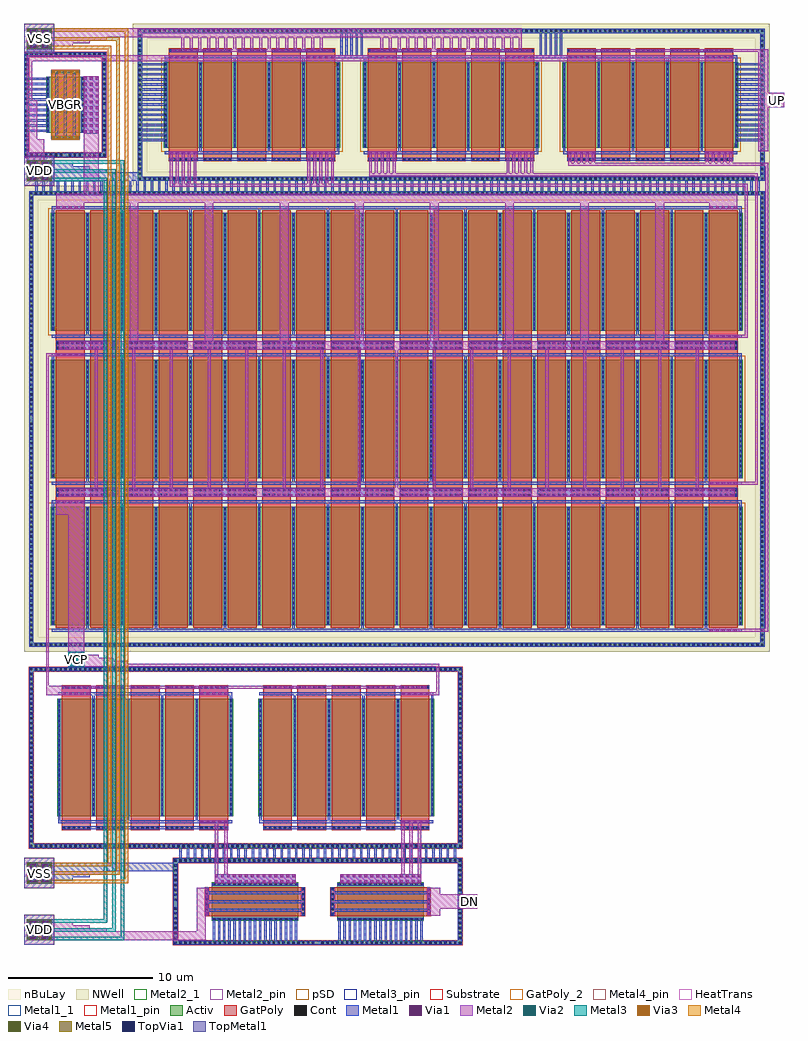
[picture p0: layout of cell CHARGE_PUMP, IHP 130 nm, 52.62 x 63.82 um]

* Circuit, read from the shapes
.subckt CHARGE_PUMP DN UP VBGR VCP VDD VSS
XM1 n1 VBGR VSS VSS sg13_lv_nmos w=3.9u l=2u
XM2 n2 n2 n3 VSS sg13_lv_nmos w=8.14u l=2u m=5
XM3 n3 VDD VSS VSS sg13_lv_nmos w=6u l=2u
XM4 VCP n2 n4 VSS sg13_lv_nmos w=8.14u l=2u m=5
XM5 n4 DN VSS VSS sg13_lv_nmos w=6u l=2u
XM6 n5 n1 VCP VDD sg13_lv_pmos w=8.18u l=2u m=20
XM7 n6 n1 n2 VDD sg13_lv_pmos w=8.18u l=2u m=20
XM8 n7 n1 n1 VDD sg13_lv_pmos w=8.18u l=2u m=20
XM9 n7 VSS VDD VDD sg13_lv_pmos w=5.92u l=2u m=5
XM10 n6 VSS VDD VDD sg13_lv_pmos w=5.92u l=2u m=5
XM11 VDD UP n5 VDD sg13_lv_pmos w=5.92u l=2u m=5
.ends

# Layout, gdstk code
from math import pi, radians
import gdstk
lib = gdstk.Library(unit=1e-6, precision=1e-09)
def R(c, l, rs):  # rectangles x0, y0, x1, y1
    for r in rs: c.add(gdstk.rectangle(r[:2], r[2:], *l))
def A(c, l, x, y, w, h, nx, ny, dx, dy):  # array of equal rectangles
    R(c, l, [(x+i*dx, y+j*dy, x+i*dx+w, y+j*dy+h) for i in range(nx) for j in range(ny)])
def P(c, l, *ps):  # polygons
    for p in ps: c.add(gdstk.Polygon(p, *l))
Activ = (1, 0)
GatPoly = (5, 0)
GatPoly_2 = (5, 2)
Cont = (6, 0)
Metal1 = (8, 0)
Metal1_1 = (8, 1)
Metal1_pin = (8, 2)
Metal2 = (10, 0)
Metal2_1 = (10, 1)
Metal2_pin = (10, 2)
pSD = (14, 0)
Via1 = (19, 0)
Via2 = (29, 0)
Metal3 = (30, 0)
Metal3_pin = (30, 2)
NWell = (31, 0)
nBuLay = (32, 0)
Substrate = (40, 0)
Via3 = (49, 0)
Metal4 = (50, 0)
Metal4_pin = (50, 2)
HeatTrans = (51, 0)
Via4 = (66, 0)
Metal5 = (67, 0)
TopVia1 = (125, 0)
TopMetal1 = (126, 0)

via_stack_2 = lib.new_cell('via_stack$2')
R(via_stack_2, GatPoly, [(-1,-0.32,1,0.32)])
A(via_stack_2, Cont, -0.93, -0.25, 0.16, 0.16, 6, 2, 0.34, 0.34)
R(via_stack_2, Metal1, [(-0.98,-0.25,0.98,0.25)])

via_stack_3 = lib.new_cell('via_stack$3')
R(via_stack_3, Metal1, [(-1.99,-0.31,1.99,0.31)])
R(via_stack_3, Metal2, [(-1.99,-0.305,1.99,0.305)])
A(via_stack_3, Via1, -1.94, -0.3, 0.19, 0.19, 10, 2, 0.41, 0.41)

pmos_2 = lib.new_cell('pmos$2')
A(pmos_2, Activ, 0, 0, 0.3, 0.3, 21, 1, 2.38, 0)
R(pmos_2, Activ, [(0,0,47.9,8.18)])
A(pmos_2, GatPoly, 0.34, -0.18, 2, 8.54, 20, 1, 2.38, 0)
R(pmos_2, GatPoly, [(0.34,-0.18,2.34,8.36)])
A(pmos_2, Cont, 0.07, 0.07, 0.16, 0.16, 21, 2, 2.38, 0.34)
A(pmos_2, Cont, 0.07, 0.755, 0.16, 0.16, 21, 2, 2.38, 0.34)
A(pmos_2, Cont, 0.07, 1.44, 0.16, 0.16, 21, 2, 2.38, 0.34)
A(pmos_2, Cont, 0.07, 2.125, 0.16, 0.16, 21, 2, 2.38, 0.34)
A(pmos_2, Cont, 0.07, 2.81, 0.16, 0.16, 21, 2, 2.38, 0.34)
A(pmos_2, Cont, 0.07, 3.495, 0.16, 0.16, 21, 2, 2.38, 0.34)
A(pmos_2, Cont, 0.07, 4.18, 0.16, 0.16, 21, 2, 2.38, 0.34)
A(pmos_2, Cont, 0.07, 4.865, 0.16, 0.16, 21, 2, 2.38, 0.34)
A(pmos_2, Cont, 0.07, 5.55, 0.16, 0.16, 21, 2, 2.38, 0.34)
A(pmos_2, Cont, 0.07, 6.235, 0.16, 0.16, 21, 2, 2.38, 0.34)
A(pmos_2, Cont, 0.07, 6.92, 0.16, 0.16, 21, 2, 2.38, 0.34)
A(pmos_2, Cont, 0.07, 7.605, 0.16, 0.16, 21, 2, 2.38, 0.345)
A(pmos_2, Metal1, 2.45, 0, 0.16, 8.18, 20, 1, 2.38, 0)
R(pmos_2, Metal1, [(0.07,0,0.23,8.18), (0.07,0,0.23,8.18), (2.45,0,2.61,8.18)])
R(pmos_2, pSD, [(-0.18,-0.3,48.08,8.48)])
R(pmos_2, NWell, [(-0.31,-0.31,48.21,8.49)])
R(pmos_2, Substrate, [(47.6,0,47.9,0.3)])
A(pmos_2, HeatTrans, 0.34, -0.18, 2, 8.54, 20, 1, 2.38, 0)
pmos_2.add(gdstk.Label('pmos', (1.34,4.09), layer=63, texttype=0))
pmos_2.add(gdstk.Label('pmos', (1.34,4.09), layer=51, texttype=0))
pmos_2.add(gdstk.Label('pmos', (3.72,4.09), layer=51, texttype=0))
pmos_2.add(gdstk.Label('pmos', (6.1,4.09), layer=51, texttype=0))
pmos_2.add(gdstk.Label('pmos', (8.48,4.09), layer=51, texttype=0))
pmos_2.add(gdstk.Label('pmos', (10.86,4.09), layer=51, texttype=0))
pmos_2.add(gdstk.Label('pmos', (13.24,4.09), layer=51, texttype=0))
pmos_2.add(gdstk.Label('pmos', (15.62,4.09), layer=51, texttype=0))
pmos_2.add(gdstk.Label('pmos', (18,4.09), layer=51, texttype=0))
pmos_2.add(gdstk.Label('pmos', (20.38,4.09), layer=51, texttype=0))
pmos_2.add(gdstk.Label('pmos', (22.76,4.09), layer=51, texttype=0))
pmos_2.add(gdstk.Label('pmos', (25.14,4.09), layer=51, texttype=0))
pmos_2.add(gdstk.Label('pmos', (27.52,4.09), layer=51, texttype=0))
pmos_2.add(gdstk.Label('pmos', (29.9,4.09), layer=51, texttype=0))
pmos_2.add(gdstk.Label('pmos', (32.28,4.09), layer=51, texttype=0))
pmos_2.add(gdstk.Label('pmos', (34.66,4.09), layer=51, texttype=0))
pmos_2.add(gdstk.Label('pmos', (37.04,4.09), layer=51, texttype=0))
pmos_2.add(gdstk.Label('pmos', (39.42,4.09), layer=51, texttype=0))
pmos_2.add(gdstk.Label('pmos', (41.8,4.09), layer=51, texttype=0))
pmos_2.add(gdstk.Label('pmos', (44.18,4.09), layer=51, texttype=0))
pmos_2.add(gdstk.Label('pmos', (46.56,4.09), layer=51, texttype=0))

via_stack_8 = lib.new_cell('via_stack$8')
R(via_stack_8, Metal2, [(-0.555,-0.51,0.555,0.51)])
A(via_stack_8, Via2, -0.505, -0.505, 0.19, 0.19, 3, 3, 0.41, 0.41)
R(via_stack_8, Metal3, [(-0.555,-0.51,0.555,0.51)])

via_stack = lib.new_cell('via_stack')
R(via_stack, Metal1, [(-0.965,-0.105,0.965,0.105)])
R(via_stack, Metal2, [(-0.965,-0.1,0.965,0.1)])
A(via_stack, Via1, -0.915, -0.095, 0.19, 0.19, 5, 1, 0.41, 0)

nmos_3 = lib.new_cell('nmos$3')
A(nmos_3, Activ, 0, 0, 0.3, 0.3, 6, 1, 2.38, 0)
R(nmos_3, Activ, [(0,0,12.2,8.14)])
A(nmos_3, GatPoly, 0.34, -0.18, 2, 8.5, 5, 1, 2.38, 0)
R(nmos_3, GatPoly_2, [(0.34,-0.18,2.34,8.32)])
A(nmos_3, Cont, 0.07, 0.07, 0.16, 0.16, 6, 6, 2.38, 0.34)
A(nmos_3, Cont, 0.07, 2.115, 0.16, 0.16, 6, 6, 2.38, 0.34)
A(nmos_3, Cont, 0.07, 4.16, 0.16, 0.16, 6, 6, 2.38, 0.34)
A(nmos_3, Cont, 0.07, 6.205, 0.16, 0.16, 6, 5, 2.38, 0.34)
A(nmos_3, Cont, 0.07, 7.91, 0.16, 0.16, 6, 1, 2.38, 0)
A(nmos_3, Metal1, 0.07, 0, 0.16, 8.14, 6, 1, 2.38, 0)
R(nmos_3, Metal1_pin, [(0.07,0,0.23,8.14), (2.45,0,2.61,8.14)])
A(nmos_3, HeatTrans, 0.34, -0.18, 2, 8.5, 5, 1, 2.38, 0)
nmos_3.add(gdstk.Label('nmos', (1.34,4.07), layer=63, texttype=0))
nmos_3.add(gdstk.Label('nmos', (1.34,4.07), layer=51, texttype=0))
nmos_3.add(gdstk.Label('nmos', (3.72,4.07), layer=51, texttype=0))
nmos_3.add(gdstk.Label('nmos', (6.1,4.07), layer=51, texttype=0))
nmos_3.add(gdstk.Label('nmos', (8.48,4.07), layer=51, texttype=0))
nmos_3.add(gdstk.Label('nmos', (10.86,4.07), layer=51, texttype=0))

nmos_2 = lib.new_cell('nmos$2')
A(nmos_2, Activ, 0, 0, 0.3, 0.3, 6, 1, 2.38, 0)
R(nmos_2, Activ, [(0,0,12.2,8.14)])
A(nmos_2, GatPoly, 0.34, -0.18, 2, 8.5, 5, 1, 2.38, 0)
R(nmos_2, GatPoly_2, [(0.34,-0.18,2.34,8.32)])
A(nmos_2, Cont, 0.07, 0.07, 0.16, 0.16, 6, 6, 2.38, 0.34)
A(nmos_2, Cont, 0.07, 2.115, 0.16, 0.16, 6, 6, 2.38, 0.34)
A(nmos_2, Cont, 0.07, 4.16, 0.16, 0.16, 6, 6, 2.38, 0.34)
A(nmos_2, Cont, 0.07, 6.205, 0.16, 0.16, 6, 5, 2.38, 0.34)
A(nmos_2, Cont, 0.07, 7.91, 0.16, 0.16, 6, 1, 2.38, 0)
A(nmos_2, Metal1, 0.07, 0, 0.16, 8.14, 6, 1, 2.38, 0)
R(nmos_2, Metal1_pin, [(0.07,0,0.23,8.14), (2.45,0,2.61,8.14)])
A(nmos_2, HeatTrans, 0.34, -0.18, 2, 8.5, 5, 1, 2.38, 0)
nmos_2.add(gdstk.Label('nmos', (1.34,4.07), layer=63, texttype=0))
nmos_2.add(gdstk.Label('nmos', (1.34,4.07), layer=51, texttype=0))
nmos_2.add(gdstk.Label('nmos', (3.72,4.07), layer=51, texttype=0))
nmos_2.add(gdstk.Label('nmos', (6.1,4.07), layer=51, texttype=0))
nmos_2.add(gdstk.Label('nmos', (8.48,4.07), layer=51, texttype=0))
nmos_2.add(gdstk.Label('nmos', (10.86,4.07), layer=51, texttype=0))

nmos_4 = lib.new_cell('nmos$4')
R(nmos_4, Activ, [(0,0,0.3,0.3), (0,0,2.68,6), (2.38,0,2.68,0.3)])
R(nmos_4, GatPoly, [(0.34,-0.18,2.34,6.18)])
R(nmos_4, GatPoly_2, [(0.34,-0.18,2.34,6.18)])
A(nmos_4, Cont, 0.07, 0.07, 0.16, 0.16, 1, 4, 0, 0.355)
A(nmos_4, Cont, 2.45, 0.07, 0.16, 0.16, 1, 4, 0, 0.355)
A(nmos_4, Cont, 0.07, 1.495, 0.16, 0.16, 1, 4, 0, 0.355)
A(nmos_4, Cont, 2.45, 1.495, 0.16, 0.16, 1, 4, 0, 0.355)
A(nmos_4, Cont, 0.07, 2.92, 0.16, 0.16, 1, 4, 0, 0.355)
A(nmos_4, Cont, 2.45, 2.92, 0.16, 0.16, 1, 4, 0, 0.355)
A(nmos_4, Cont, 0.07, 4.345, 0.16, 0.16, 1, 4, 0, 0.355)
A(nmos_4, Cont, 2.45, 4.345, 0.16, 0.16, 1, 4, 0, 0.355)
R(nmos_4, Cont, [(0.07,5.77,0.23,5.93), (2.45,5.77,2.61,5.93)])
R(nmos_4, Metal1, [(0.07,0,0.23,6), (2.45,0,2.61,6)])
R(nmos_4, Metal1_pin, [(0.07,0,0.23,6), (2.45,0,2.61,6)])
R(nmos_4, HeatTrans, [(0.34,-0.18,2.34,6.18)])
nmos_4.add(gdstk.Label('nmos', (1.34,3), layer=63, texttype=0))
nmos_4.add(gdstk.Label('nmos', (1.34,3), layer=51, texttype=0))

pmos = lib.new_cell('pmos')
A(pmos, Activ, 0, 0, 0.3, 0.3, 21, 1, 2.38, 0)
R(pmos, Activ, [(0,0,47.9,8.18)])
A(pmos, GatPoly, 0.34, -0.18, 2, 8.54, 20, 1, 2.38, 0)
R(pmos, GatPoly, [(0.34,-0.18,2.34,8.36)])
A(pmos, Cont, 0.07, 0.07, 0.16, 0.16, 21, 2, 2.38, 0.34)
A(pmos, Cont, 0.07, 0.755, 0.16, 0.16, 21, 2, 2.38, 0.34)
A(pmos, Cont, 0.07, 1.44, 0.16, 0.16, 21, 2, 2.38, 0.34)
A(pmos, Cont, 0.07, 2.125, 0.16, 0.16, 21, 2, 2.38, 0.34)
A(pmos, Cont, 0.07, 2.81, 0.16, 0.16, 21, 2, 2.38, 0.34)
A(pmos, Cont, 0.07, 3.495, 0.16, 0.16, 21, 2, 2.38, 0.34)
A(pmos, Cont, 0.07, 4.18, 0.16, 0.16, 21, 2, 2.38, 0.34)
A(pmos, Cont, 0.07, 4.865, 0.16, 0.16, 21, 2, 2.38, 0.34)
A(pmos, Cont, 0.07, 5.55, 0.16, 0.16, 21, 2, 2.38, 0.34)
A(pmos, Cont, 0.07, 6.235, 0.16, 0.16, 21, 2, 2.38, 0.34)
A(pmos, Cont, 0.07, 6.92, 0.16, 0.16, 21, 2, 2.38, 0.34)
A(pmos, Cont, 0.07, 7.605, 0.16, 0.16, 21, 2, 2.38, 0.345)
A(pmos, Metal1, 2.45, 0, 0.16, 8.18, 20, 1, 2.38, 0)
R(pmos, Metal1, [(0.07,0,0.23,8.18), (0.07,0,0.23,8.18), (2.45,0,2.61,8.18)])
R(pmos, pSD, [(-0.18,-0.3,48.08,8.48)])
R(pmos, NWell, [(-0.31,-0.31,48.21,8.49)])
R(pmos, Substrate, [(47.6,0,47.9,0.3)])
A(pmos, HeatTrans, 0.34, -0.18, 2, 8.54, 20, 1, 2.38, 0)
pmos.add(gdstk.Label('pmos', (1.34,4.09), layer=63, texttype=0))
pmos.add(gdstk.Label('pmos', (1.34,4.09), layer=51, texttype=0))
pmos.add(gdstk.Label('pmos', (3.72,4.09), layer=51, texttype=0))
pmos.add(gdstk.Label('pmos', (6.1,4.09), layer=51, texttype=0))
pmos.add(gdstk.Label('pmos', (8.48,4.09), layer=51, texttype=0))
pmos.add(gdstk.Label('pmos', (10.86,4.09), layer=51, texttype=0))
pmos.add(gdstk.Label('pmos', (13.24,4.09), layer=51, texttype=0))
pmos.add(gdstk.Label('pmos', (15.62,4.09), layer=51, texttype=0))
pmos.add(gdstk.Label('pmos', (18,4.09), layer=51, texttype=0))
pmos.add(gdstk.Label('pmos', (20.38,4.09), layer=51, texttype=0))
pmos.add(gdstk.Label('pmos', (22.76,4.09), layer=51, texttype=0))
pmos.add(gdstk.Label('pmos', (25.14,4.09), layer=51, texttype=0))
pmos.add(gdstk.Label('pmos', (27.52,4.09), layer=51, texttype=0))
pmos.add(gdstk.Label('pmos', (29.9,4.09), layer=51, texttype=0))
pmos.add(gdstk.Label('pmos', (32.28,4.09), layer=51, texttype=0))
pmos.add(gdstk.Label('pmos', (34.66,4.09), layer=51, texttype=0))
pmos.add(gdstk.Label('pmos', (37.04,4.09), layer=51, texttype=0))
pmos.add(gdstk.Label('pmos', (39.42,4.09), layer=51, texttype=0))
pmos.add(gdstk.Label('pmos', (41.8,4.09), layer=51, texttype=0))
pmos.add(gdstk.Label('pmos', (44.18,4.09), layer=51, texttype=0))
pmos.add(gdstk.Label('pmos', (46.56,4.09), layer=51, texttype=0))

via_stack_9 = lib.new_cell('via_stack$9')
R(via_stack_9, Metal1, [(-0.865,-0.72,0.865,0.72)])
R(via_stack_9, Metal2, [(-0.865,-0.715,0.865,0.715)])
A(via_stack_9, Via1, -0.815, -0.71, 0.19, 0.19, 4, 4, 0.48, 0.41)
A(via_stack_9, Via2, -0.815, -0.71, 0.19, 0.19, 4, 4, 0.48, 0.41)
R(via_stack_9, Metal3, [(-0.865,-0.715,0.865,0.715)])
A(via_stack_9, Via3, -0.815, -0.71, 0.19, 0.19, 4, 4, 0.48, 0.41)
R(via_stack_9, Metal4, [(-0.865,-0.715,0.865,0.715)])
A(via_stack_9, Via4, -0.815, -0.71, 0.19, 0.19, 4, 4, 0.48, 0.41)
R(via_stack_9, Metal5, [(-0.865,-0.73,0.865,0.73)])
R(via_stack_9, TopVia1, [(-0.63,-0.63,-0.21,-0.21), (0.21,-0.63,0.63,-0.21), (-0.63,0.21,-0.21,0.63), (0.21,0.21,0.63,0.63)])
R(via_stack_9, TopMetal1, [(-1.05,-1.05,1.05,1.05)])

guard_ring = lib.new_cell('guard_ring')
R(guard_ring, Activ, [(-25.46,-15.48,-25.16,15.48), (25.16,-15.48,25.46,15.48), (-25.46,15.48,25.46,15.78)])
P(guard_ring, Activ, [(-25.46,-15.78),(-25.46,15.48),(-25.16,15.48),(-25.16,-15.48),(25.16,-15.48),(25.16,15.48),(-25.46,15.48),(-25.46,15.78),(25.46,15.78),(25.46,-15.78)])
A(guard_ring, Cont, -25.39, -15.71, 0.16, 0.16, 74, 2, 0.34, 31.26)
A(guard_ring, Cont, 0.07, -15.71, 0.16, 0.16, 75, 2, 0.34, 31.26)
A(guard_ring, Cont, -25.39, -15.37, 0.16, 0.16, 1, 45, 0, 0.34)
A(guard_ring, Cont, 25.23, -15.37, 0.16, 0.16, 1, 45, 0, 0.34)
A(guard_ring, Cont, -25.39, 0.25, 0.16, 0.16, 1, 45, 0, 0.34)
A(guard_ring, Cont, 25.23, 0.25, 0.16, 0.16, 1, 45, 0, 0.34)
R(guard_ring, Metal1, [(-25.46,-15.78,25.46,-15.48), (-25.46,-15.48,-25.16,15.48), (25.16,-15.48,25.46,15.48), (-25.46,15.48,25.46,15.78)])
R(guard_ring, NWell, [(-25.81,-16.13,25.81,16.13)])
R(guard_ring, nBuLay, [(-25.81,-15.13,-24.81,15.13), (24.81,-15.13,25.81,15.13), (-25.81,15.13,25.81,16.13)])
P(guard_ring, nBuLay, [(-25.81,-16.13),(-25.81,15.13),(-24.81,15.13),(-24.81,-15.13),(24.81,-15.13),(24.81,15.13),(-25.81,15.13),(-25.81,16.13),(25.81,16.13),(25.81,-16.13)])
guard_ring.add(gdstk.Label('well', (0,-15.63), layer=63, texttype=0))

via_stack_4 = lib.new_cell('via_stack$4')
R(via_stack_4, GatPoly, [(-1,-0.15,1,0.15)])
A(via_stack_4, Cont, -0.93, -0.08, 0.16, 0.16, 6, 1, 0.34, 0)
R(via_stack_4, Metal1, [(-0.98,-0.08,0.98,0.08)])

via_stack_5 = lib.new_cell('via_stack$5')
R(via_stack_5, Metal1, [(-1.99,-0.105,1.99,0.105)])
R(via_stack_5, Metal2, [(-1.99,-0.1,1.99,0.1)])
A(via_stack_5, Via1, -1.94, -0.095, 0.19, 0.19, 10, 1, 0.41, 0)

pmos_5 = lib.new_cell('pmos$5')
A(pmos_5, Activ, 0, 0, 0.3, 0.3, 6, 1, 2.38, 0)
R(pmos_5, Activ, [(0,0,12.2,5.92)])
A(pmos_5, GatPoly, 0.34, -0.18, 2, 6.28, 5, 1, 2.38, 0)
R(pmos_5, GatPoly, [(0.34,-0.18,2.34,6.1)])
A(pmos_5, Cont, 0.07, 0.07, 0.16, 0.16, 6, 4, 2.38, 0.35)
A(pmos_5, Cont, 0.07, 1.475, 0.16, 0.16, 6, 4, 2.38, 0.35)
A(pmos_5, Cont, 0.07, 2.88, 0.16, 0.16, 6, 4, 2.38, 0.35)
A(pmos_5, Cont, 0.07, 4.285, 0.16, 0.16, 6, 4, 2.38, 0.35)
A(pmos_5, Cont, 0.07, 5.69, 0.16, 0.16, 6, 1, 2.38, 0)
A(pmos_5, Metal1, 2.45, 0, 0.16, 5.92, 5, 1, 2.38, 0)
R(pmos_5, Metal1, [(0.07,0,0.23,5.92), (0.07,0,0.23,5.92), (2.45,0,2.61,5.92)])
R(pmos_5, pSD, [(-0.18,-0.3,12.38,6.22)])
R(pmos_5, NWell, [(-0.31,-0.31,12.51,6.23)])
R(pmos_5, Substrate, [(11.9,0,12.2,0.3)])
A(pmos_5, HeatTrans, 0.34, -0.18, 2, 6.28, 5, 1, 2.38, 0)
pmos_5.add(gdstk.Label('pmos', (1.34,2.96), layer=63, texttype=0))
pmos_5.add(gdstk.Label('pmos', (1.34,2.96), layer=51, texttype=0))
pmos_5.add(gdstk.Label('pmos', (3.72,2.96), layer=51, texttype=0))
pmos_5.add(gdstk.Label('pmos', (6.1,2.96), layer=51, texttype=0))
pmos_5.add(gdstk.Label('pmos', (8.48,2.96), layer=51, texttype=0))
pmos_5.add(gdstk.Label('pmos', (10.86,2.96), layer=51, texttype=0))

pmos_4 = lib.new_cell('pmos$4')
A(pmos_4, Activ, 0, 0, 0.3, 0.3, 6, 1, 2.38, 0)
R(pmos_4, Activ, [(0,0,12.2,5.92)])
A(pmos_4, GatPoly, 0.34, -0.18, 2, 6.28, 5, 1, 2.38, 0)
R(pmos_4, GatPoly, [(0.34,-0.18,2.34,6.1)])
A(pmos_4, Cont, 0.07, 0.07, 0.16, 0.16, 6, 4, 2.38, 0.35)
A(pmos_4, Cont, 0.07, 1.475, 0.16, 0.16, 6, 4, 2.38, 0.35)
A(pmos_4, Cont, 0.07, 2.88, 0.16, 0.16, 6, 4, 2.38, 0.35)
A(pmos_4, Cont, 0.07, 4.285, 0.16, 0.16, 6, 4, 2.38, 0.35)
A(pmos_4, Cont, 0.07, 5.69, 0.16, 0.16, 6, 1, 2.38, 0)
A(pmos_4, Metal1, 2.45, 0, 0.16, 5.92, 5, 1, 2.38, 0)
R(pmos_4, Metal1, [(0.07,0,0.23,5.92), (0.07,0,0.23,5.92), (2.45,0,2.61,5.92)])
R(pmos_4, pSD, [(-0.18,-0.3,12.38,6.22)])
R(pmos_4, NWell, [(-0.31,-0.31,12.51,6.23)])
R(pmos_4, Substrate, [(11.9,0,12.2,0.3)])
A(pmos_4, HeatTrans, 0.34, -0.18, 2, 6.28, 5, 1, 2.38, 0)
pmos_4.add(gdstk.Label('pmos', (1.34,2.96), layer=63, texttype=0))
pmos_4.add(gdstk.Label('pmos', (1.34,2.96), layer=51, texttype=0))
pmos_4.add(gdstk.Label('pmos', (3.72,2.96), layer=51, texttype=0))
pmos_4.add(gdstk.Label('pmos', (6.1,2.96), layer=51, texttype=0))
pmos_4.add(gdstk.Label('pmos', (8.48,2.96), layer=51, texttype=0))
pmos_4.add(gdstk.Label('pmos', (10.86,2.96), layer=51, texttype=0))

nmos_1 = lib.new_cell('nmos$1')
R(nmos_1, Activ, [(-1.5,-1.38,-1.2,5.28), (3.88,-1.38,4.18,5.28), (0,0,0.3,0.3), (0,0,2.68,3.9), (2.38,0,2.68,0.3), (-1.5,5.28,4.18,5.58)])
P(nmos_1, Activ, [(-1.5,-1.68),(-1.5,5.28),(-1.2,5.28),(-1.2,-1.38),(3.88,-1.38),(3.88,5.28),(-1.5,5.28),(-1.5,5.58),(4.18,5.58),(4.18,-1.68)])
R(nmos_1, GatPoly, [(0.34,-0.18,2.34,4.08)])
R(nmos_1, GatPoly_2, [(0.34,-0.18,2.34,4.08)])
A(nmos_1, Cont, -1.43, -1.61, 0.16, 0.16, 8, 2, 0.34, 6.96)
A(nmos_1, Cont, 1.57, -1.61, 0.16, 0.16, 8, 2, 0.34, 6.96)
A(nmos_1, Cont, -1.43, -1.27, 0.16, 0.16, 1, 9, 0, 0.34)
A(nmos_1, Cont, 3.95, -1.27, 0.16, 0.16, 1, 9, 0, 0.34)
A(nmos_1, Cont, 0.07, 0.07, 0.16, 0.16, 1, 11, 0, 0.36)
A(nmos_1, Cont, 2.45, 0.07, 0.16, 0.16, 1, 11, 0, 0.36)
A(nmos_1, Cont, -1.43, 1.95, 0.16, 0.16, 1, 10, 0, 0.34)
A(nmos_1, Cont, 3.95, 1.95, 0.16, 0.16, 1, 10, 0, 0.34)
R(nmos_1, Metal1, [(-1.5,-1.68,4.18,-1.38), (-1.5,-1.38,-1.2,5.28), (3.88,-1.38,4.18,5.28), (0.07,0,0.23,3.9), (2.45,0,2.61,3.9), (-1.5,5.28,4.18,5.58)])
R(nmos_1, Metal1_pin, [(0.07,0,0.23,3.9), (2.45,0,2.61,3.9)])
R(nmos_1, pSD, [(-1.53,-1.35,-1.17,5.25), (3.85,-1.35,4.21,5.25), (-1.53,5.25,4.21,5.61)])
P(nmos_1, pSD, [(-1.53,-1.71),(-1.53,5.25),(-1.17,5.25),(-1.17,-1.35),(3.85,-1.35),(3.85,5.25),(-1.53,5.25),(-1.53,5.61),(4.21,5.61),(4.21,-1.71)])
R(nmos_1, Substrate, [(-1.53,-1.35,-1.17,5.25), (3.85,-1.35,4.21,5.25), (-1.53,5.25,4.21,5.61)])
P(nmos_1, Substrate, [(-1.53,-1.71),(-1.53,5.25),(-1.17,5.25),(-1.17,-1.35),(3.85,-1.35),(3.85,5.25),(-1.53,5.25),(-1.53,5.61),(4.21,5.61),(4.21,-1.71)])
R(nmos_1, HeatTrans, [(0.34,-0.18,2.34,4.08)])
nmos_1.add(gdstk.Label('nmos', (1.34,1.95), layer=63, texttype=0))
nmos_1.add(gdstk.Label('sub!', (1.34,-1.53), layer=63, texttype=0))
nmos_1.add(gdstk.Label('nmos', (1.34,1.95), layer=51, texttype=0))

via_stack_7 = lib.new_cell('via_stack$7')
R(via_stack_7, Metal1, [(-0.965,-0.105,0.965,0.105)])
R(via_stack_7, Metal2, [(-0.965,-0.1,0.965,0.1)])
A(via_stack_7, Via1, -0.915, -0.095, 0.19, 0.19, 5, 1, 0.41, 0)
A(via_stack_7, Via2, -0.915, -0.095, 0.19, 0.19, 5, 1, 0.41, 0)
R(via_stack_7, Metal3, [(-0.965,-0.1,0.965,0.1)])
A(via_stack_7, Via3, -0.915, -0.095, 0.19, 0.19, 5, 1, 0.41, 0)
R(via_stack_7, Metal4, [(-0.965,-0.1,0.965,0.1)])

via_stack_6 = lib.new_cell('via_stack$6')
R(via_stack_6, Metal1, [(-0.515,-1.99,0.515,1.99)])
R(via_stack_6, Metal2, [(-0.51,-1.99,0.51,1.99)])
A(via_stack_6, Via1, -0.505, -1.94, 0.19, 0.19, 3, 10, 0.41, 0.41)

guard_ring_2 = lib.new_cell('guard_ring$2')
R(guard_ring_2, Activ, [(-21.7,-4.97,-21.4,4.97), (21.4,-4.97,21.7,4.97), (-21.7,4.97,21.7,5.27)])
P(guard_ring_2, Activ, [(-21.7,-5.27),(-21.7,4.97),(-21.4,4.97),(-21.4,-4.97),(21.4,-4.97),(21.4,4.97),(-21.7,4.97),(-21.7,5.27),(21.7,5.27),(21.7,-5.27)])
A(guard_ring_2, Cont, -21.63, -5.2, 0.16, 0.16, 63, 2, 0.34, 10.24)
A(guard_ring_2, Cont, 0.05, -5.2, 0.16, 0.16, 64, 2, 0.34, 10.24)
A(guard_ring_2, Cont, -21.63, -4.86, 0.16, 0.16, 1, 14, 0, 0.34)
A(guard_ring_2, Cont, 21.47, -4.86, 0.16, 0.16, 1, 14, 0, 0.34)
A(guard_ring_2, Cont, -21.63, -0.06, 0.16, 0.16, 1, 15, 0, 0.34)
A(guard_ring_2, Cont, 21.47, -0.06, 0.16, 0.16, 1, 15, 0, 0.34)
R(guard_ring_2, Metal1, [(-21.7,-5.27,21.7,-4.97), (-21.7,-4.97,-21.4,4.97), (21.4,-4.97,21.7,4.97), (-21.7,4.97,21.7,5.27)])
R(guard_ring_2, NWell, [(-22.05,-5.62,22.05,5.62)])
R(guard_ring_2, nBuLay, [(-22.05,-4.62,-21.05,4.62), (21.05,-4.62,22.05,4.62), (-22.05,4.62,22.05,5.62)])
P(guard_ring_2, nBuLay, [(-22.05,-5.62),(-22.05,4.62),(-21.05,4.62),(-21.05,-4.62),(21.05,-4.62),(21.05,4.62),(-22.05,4.62),(-22.05,5.62),(22.05,5.62),(22.05,-5.62)])
guard_ring_2.add(gdstk.Label('well', (0,-5.12), layer=63, texttype=0))

via_stack_10 = lib.new_cell('via_stack$10')
R(via_stack_10, Metal1, [(-0.865,-0.72,0.865,0.72)])
R(via_stack_10, Metal2, [(-0.865,-0.715,0.865,0.715)])
A(via_stack_10, Via1, -0.815, -0.71, 0.19, 0.19, 4, 4, 0.48, 0.41)
A(via_stack_10, Via2, -0.815, -0.71, 0.19, 0.19, 4, 4, 0.48, 0.41)
R(via_stack_10, Metal3, [(-0.865,-0.715,0.865,0.715)])
A(via_stack_10, Via3, -0.815, -0.71, 0.19, 0.19, 4, 4, 0.48, 0.41)
R(via_stack_10, Metal4, [(-0.865,-0.715,0.865,0.715)])
A(via_stack_10, Via4, -0.815, -0.71, 0.19, 0.19, 4, 4, 0.48, 0.41)
R(via_stack_10, Metal5, [(-0.865,-0.73,0.865,0.73)])
R(via_stack_10, TopVia1, [(-0.63,-0.63,-0.21,-0.21), (0.21,-0.63,0.63,-0.21), (-0.63,0.21,-0.21,0.63), (0.21,0.21,0.63,0.63)])
R(via_stack_10, TopMetal1, [(-1.05,-1.05,1.05,1.05)])

guard_ring_5 = lib.new_cell('guard_ring$5')
R(guard_ring_5, Activ, [(-15,-5.97,-14.7,5.97), (14.7,-5.97,15,5.97), (-15,5.97,15,6.27)])
P(guard_ring_5, Activ, [(-15,-6.27),(-15,5.97),(-14.7,5.97),(-14.7,-5.97),(14.7,-5.97),(14.7,5.97),(-15,5.97),(-15,6.27),(15,6.27),(15,-6.27)])
A(guard_ring_5, Cont, -14.93, -6.2, 0.16, 0.16, 44, 2, 0.34, 12.24)
A(guard_ring_5, Cont, 0.15, -6.2, 0.16, 0.16, 44, 2, 0.34, 12.24)
A(guard_ring_5, Cont, -14.93, -5.86, 0.16, 0.16, 1, 35, 0, 0.34)
A(guard_ring_5, Cont, 14.77, -5.86, 0.16, 0.16, 1, 35, 0, 0.34)
R(guard_ring_5, Metal1, [(-15,-6.27,15,-5.97), (-15,-5.97,-14.7,5.97), (14.7,-5.97,15,5.97), (-15,5.97,15,6.27)])
R(guard_ring_5, pSD, [(-15.03,-5.94,-14.67,5.94), (14.67,-5.94,15.03,5.94), (-15.03,5.94,15.03,6.3)])
P(guard_ring_5, pSD, [(-15.03,-6.3),(-15.03,5.94),(-14.67,5.94),(-14.67,-5.94),(14.67,-5.94),(14.67,5.94),(-15.03,5.94),(-15.03,6.3),(15.03,6.3),(15.03,-6.3)])
R(guard_ring_5, Substrate, [(-15.03,-5.94,-14.67,5.94), (14.67,-5.94,15.03,5.94), (-15.03,5.94,15.03,6.3)])
P(guard_ring_5, Substrate, [(-15.03,-6.3),(-15.03,5.94),(-14.67,5.94),(-14.67,-5.94),(14.67,-5.94),(14.67,5.94),(-15.03,5.94),(-15.03,6.3),(15.03,6.3),(15.03,-6.3)])
guard_ring_5.add(gdstk.Label('sub!', (0,-6.12), layer=63, texttype=0))

guard_ring_3 = lib.new_cell('guard_ring$3')
R(guard_ring_3, Activ, [(-10,-2.7,-9.7,2.7), (9.7,-2.7,10,2.7), (-10,2.7,10,3)])
P(guard_ring_3, Activ, [(-10,-3),(-10,2.7),(-9.7,2.7),(-9.7,-2.7),(9.7,-2.7),(9.7,2.7),(-10,2.7),(-10,3),(10,3),(10,-3)])
A(guard_ring_3, Cont, -9.93, -2.93, 0.16, 0.16, 29, 2, 0.34, 5.7)
A(guard_ring_3, Cont, 0.25, -2.93, 0.16, 0.16, 29, 2, 0.34, 5.7)
A(guard_ring_3, Cont, -9.93, -2.59, 0.16, 0.16, 1, 7, 0, 0.34)
A(guard_ring_3, Cont, 9.77, -2.59, 0.16, 0.16, 1, 7, 0, 0.34)
A(guard_ring_3, Cont, -9.93, 0.05, 0.16, 0.16, 1, 8, 0, 0.34)
A(guard_ring_3, Cont, 9.77, 0.05, 0.16, 0.16, 1, 8, 0, 0.34)
R(guard_ring_3, Metal1, [(-10,-3,10,-2.7), (-10,-2.7,-9.7,2.7), (9.7,-2.7,10,2.7), (-10,2.7,10,3)])
R(guard_ring_3, pSD, [(-10.03,-2.67,-9.67,2.67), (9.67,-2.67,10.03,2.67), (-10.03,2.67,10.03,3.03)])
P(guard_ring_3, pSD, [(-10.03,-3.03),(-10.03,2.67),(-9.67,2.67),(-9.67,-2.67),(9.67,-2.67),(9.67,2.67),(-10.03,2.67),(-10.03,3.03),(10.03,3.03),(10.03,-3.03)])
R(guard_ring_3, Substrate, [(-10.03,-2.67,-9.67,2.67), (9.67,-2.67,10.03,2.67), (-10.03,2.67,10.03,3.03)])
P(guard_ring_3, Substrate, [(-10.03,-3.03),(-10.03,2.67),(-9.67,2.67),(-9.67,-2.67),(9.67,-2.67),(9.67,2.67),(-10.03,2.67),(-10.03,3.03),(10.03,3.03),(10.03,-3.03)])
guard_ring_3.add(gdstk.Label('sub!', (0,-2.85), layer=63, texttype=0))

via_stack_11 = lib.new_cell('via_stack$11')
R(via_stack_11, Metal1, [(-2.81,-0.31,2.81,0.31)])
R(via_stack_11, Metal2, [(-2.81,-0.305,2.81,0.305)])
A(via_stack_11, Via1, -2.76, -0.3, 0.19, 0.19, 14, 2, 0.41, 0.41)

charge_pump = lib.new_cell('CHARGE_PUMP')
A(charge_pump, GatPoly, 33.76, 11.52, 2, 0.465, 5, 2, 2.38, 8.965)
A(charge_pump, GatPoly, 47.69, 11.52, 2, 0.465, 5, 2, 2.38, 8.965)
A(charge_pump, GatPoly, 33.335, 33.775, 2, 0.5, 20, 2, 2.38, 1.14)
A(charge_pump, GatPoly, 33.335, 43.955, 2, 0.5, 20, 2, 2.38, 1.14)
A(charge_pump, GatPoly, 41.155, 57.83, 2, 0.465, 5, 2, 2.38, 6.745)
A(charge_pump, GatPoly, 54.945, 57.83, 2, 0.465, 5, 2, 2.38, 6.745)
A(charge_pump, GatPoly, 68.735, 57.83, 2, 0.465, 5, 2, 2.38, 6.745)
A(charge_pump, Metal1, 44.215, 3.565, 0.16, 1.43, 17, 1, 0.355, 0)
A(charge_pump, Metal1, 52.9, 3.565, 0.16, 1.43, 17, 1, 0.355, 0)
A(charge_pump, Metal1, 43.91, 5.56, 6.45, 0.21, 1, 3, 0, 0.6)
A(charge_pump, Metal1, 52.6, 5.56, 6.45, 0.21, 1, 3, 0, 0.6)
A(charge_pump, Metal1, 41.9, 9.265, 0.16, 0.7, 39, 1, 0.5, 0)
A(charge_pump, Metal1, 33.49, 11.915, 0.16, 0.25, 3, 1, 4.76, 0)
A(charge_pump, Metal1, 47.42, 11.915, 0.16, 0.25, 3, 1, 4.76, 0)
A(charge_pump, Metal1, 35.87, 20.305, 0.16, 0.25, 3, 1, 4.76, 0)
A(charge_pump, Metal1, 49.8, 20.305, 0.16, 0.25, 3, 1, 4.76, 0)
A(charge_pump, Metal1, 35.445, 25.165, 0.16, 0.25, 10, 3, 4.76, 10.18)
A(charge_pump, Metal1, 33.065, 33.595, 0.16, 0.25, 11, 3, 4.76, 10.18)
A(charge_pump, Metal1, 33.355, 34.285, 4.34, 0.62, 10, 2, 4.76, 10.18)
A(charge_pump, Metal1, 31.915, 55.465, 0.16, 0.68, 8, 1, 0.5, 0)
A(charge_pump, Metal1, 35.915, 55.465, 0.16, 0.7, 93, 1, 0.5, 0)
A(charge_pump, Metal1, 45.935, 57.575, 1.96, 0.21, 3, 2, 13.79, 7.51)
A(charge_pump, Metal1, 40.885, 58.015, 12.06, 0.21, 3, 2, 13.79, 6.63)
A(charge_pump, Metal1, 43.265, 58.225, 0.16, 0.25, 3, 1, 4.76, 0)
A(charge_pump, Metal1, 57.055, 58.225, 0.16, 0.25, 3, 1, 4.76, 0)
A(charge_pump, Metal1, 68.465, 58.225, 0.16, 0.25, 3, 1, 4.76, 0)
A(charge_pump, Metal1, 39.305, 58.915, 1.58, 0.16, 1, 16, 0, 0.35)
A(charge_pump, Metal1, 80.525, 58.915, 1.58, 0.16, 1, 16, 0, 0.35)
A(charge_pump, Metal1, 33.3, 59.25, 0.21, 4.36, 3, 1, 0.6, 0)
A(charge_pump, Metal1, 31.465, 59.555, 1.27, 0.16, 1, 11, 0, 0.36)
A(charge_pump, Metal1, 40.885, 64.395, 0.16, 0.25, 3, 1, 4.76, 0)
A(charge_pump, Metal1, 54.675, 64.395, 0.16, 0.25, 3, 1, 4.76, 0)
A(charge_pump, Metal1, 70.845, 64.395, 0.16, 0.25, 3, 1, 4.76, 0)
A(charge_pump, Metal1, 53.04, 64.855, 0.16, 1.55, 5, 1, 0.35, 0)
A(charge_pump, Metal1, 66.83, 64.855, 0.16, 1.55, 5, 1, 0.35, 0)
R(charge_pump, Metal1, [(43.7,5.285,43.91,7.245), (50.36,5.285,50.57,7.245), (52.39,5.285,52.6,7.245), (59.05,5.285,59.26,7.245), (33.05,7.725,34.51,8.96), (34.51,7.945,35.695,8.96), (35.695,8.135,36.875,8.96), (36.875,8.355,41.48,8.96), (33.78,11.265,38.12,11.475), (38.12,11.265,38.54,11.475), (38.54,11.265,40.5,11.475), (40.5,11.265,40.92,11.475), (40.92,11.265,45.26,11.475), (47.71,11.265,52.05,11.475), (52.05,11.265,52.47,11.475), (52.47,11.265,54.43,11.475), (54.43,11.265,54.85,11.475), (54.85,11.265,59.19,11.475), (33.49,11.705,45.55,11.915), (47.42,11.705,59.48,11.915), (33.49,20.555,45.55,20.765), (47.42,20.555,59.48,20.765), (33.78,20.995,38.12,21.205), (38.54,20.995,40.5,21.205), (40.92,20.995,45.26,21.205), (47.71,20.995,52.05,21.205), (52.47,20.995,54.43,21.205), (54.85,20.995,59.19,21.205), (33.065,24.955,80.825,25.165), (33.065,33.845,80.825,34.055), (33.065,35.135,80.825,35.345), (33.065,44.025,80.825,44.235), (33.065,45.315,80.825,45.525), (33.065,54.205,80.825,54.415), (33.05,56.145,34.51,57.385), (34.51,56.145,35.695,57.165), (35.695,56.165,36.875,56.975), (36.875,56.165,39.005,56.755), (41.175,57.575,45.515,57.785), (45.515,57.575,45.935,57.785), (47.895,57.575,48.315,57.785), (48.315,57.575,52.655,57.785), (54.965,57.575,59.305,57.785), (59.305,57.575,59.725,57.785), (61.685,57.575,62.105,57.785), (62.105,57.575,66.445,57.785), (68.755,57.575,73.095,57.785), (73.095,57.575,73.515,57.785), (75.475,57.575,75.895,57.785), (75.895,57.575,80.235,57.785), (33.025,59.05,34.985,59.26), (33.025,63.61,34.985,63.82), (52.945,64.645,54.675,64.855), (66.735,64.645,68.465,64.855), (31.32,65.065,33.05,65.285), (41.175,65.085,45.515,65.295), (48.315,65.085,52.655,65.295), (54.965,65.085,59.305,65.295), (62.105,65.085,66.445,65.295), (68.755,65.085,73.095,65.295), (75.895,65.085,80.235,65.295)])
R(charge_pump, Metal1_1, [(31.685,56.365,32.685,57.365)])
A(charge_pump, Metal2, 57.245, 8.15, 0.25, 3.56, 3, 1, 0.57, 0)
A(charge_pump, Metal2, 36.04, 34.9, 0.21, 9.57, 17, 1, 2.6, 0)
A(charge_pump, Metal2, 38.44, 45.08, 0.61, 9.57, 8, 1, 5.2, 0)
A(charge_pump, Metal2, 41.235, 55.975, 0.2, 2.045, 5, 1, 0.41, 0)
A(charge_pump, Metal2, 50.755, 55.975, 0.2, 2.045, 5, 1, 0.41, 0)
A(charge_pump, Metal2, 55.025, 56.69, 0.2, 1.33, 5, 1, 0.41, 0)
A(charge_pump, Metal2, 64.545, 56.69, 0.2, 1.33, 5, 1, 0.41, 0)
A(charge_pump, Metal2, 68.815, 57.405, 0.2, 0.615, 5, 1, 0.41, 0)
A(charge_pump, Metal2, 78.335, 57.405, 0.2, 0.615, 5, 1, 0.41, 0)
A(charge_pump, Metal2, 41.355, 65.09, 11.12, 0.2, 3, 1, 13.79, 0)
A(charge_pump, Metal2, 42.015, 65.29, 0.2, 0.825, 17, 1, 0.6, 0)
A(charge_pump, Metal2, 55.805, 65.29, 0.2, 0.825, 17, 1, 0.6, 0)
R(charge_pump, Metal2, [(33.05,3.6,34.51,4.835), (34.51,3.6,35.695,4.615), (35.695,3.6,36.875,4.425), (36.875,3.6,43.1,4.205), (43.1,3.6,43.705,7.23), (59.255,5.3,59.965,7.23), (59.965,5.765,62.51,6.765), (44.325,8.15,44.575,11.71), (44.995,8.15,45.245,11.71), (32.66,20.56,32.86,44.23), (32.86,20.56,35.725,21.2), (59.175,20.56,59.69,20.76), (59.69,20.56,59.89,22.735), (43.315,20.76,45.245,21.2), (33.96,21,45.08,21.2), (45.245,21,47.89,21.2), (47.89,21,59.01,21.2), (34.19,22.535,35.3,33.035), (35.3,22.535,36.3,23.36), (36.3,22.535,37.3,23.14), (37.3,22.535,38.3,22.95), (38.3,22.535,59.69,22.735), (80.52,24.96,82.465,25.16), (82.465,24.96,82.665,57.205), (33.37,33.035,35.3,34.05), (33.535,34.29,80.355,34.9), (80.52,35.14,81.75,35.34), (81.75,35.14,81.95,56.49), (32.86,44.03,33.37,44.23), (33.535,44.47,80.355,45.08), (80.52,45.32,81.035,45.52), (81.035,45.32,81.235,55.775), (33.37,54.21,35.3,55.26), (78.59,54.21,80.52,55.26), (35.28,54.65,75.45,55.26), (75.45,54.65,78.59,55.26), (35.28,55.26,36.3,59.44), (41.235,55.775,81.235,55.975), (55.025,56.49,81.95,56.69), (68.815,57.205,82.665,57.405), (31.32,57.58,32.52,59.055), (81.955,58.22,82.665,65.29), (31.32,59.055,32.04,61.75), (82.665,61.255,83.755,62.255), (31.32,61.75,31.72,64.45), (31.32,64.45,80.22,64.85), (80.055,65.09,81.955,65.29), (33.05,65.485,34.51,66.72), (34.51,65.705,35.695,66.72), (35.695,65.895,36.875,66.72), (36.875,66.115,65.605,66.72)])
R(charge_pump, Metal2_1, [(31.685,65.505,32.685,66.505)])
R(charge_pump, Metal2_pin, [(31.685,3.815,32.685,4.815), (61.51,5.765,62.51,6.765), (31.685,7.745,32.685,8.745), (82.755,61.255,83.755,62.255)])
R(charge_pump, Metal3, [(33.05,3.6,38.075,3.84), (37.835,3.84,38.075,57.34), (33.05,4.195,37.48,4.435), (37.24,4.435,37.48,56.745), (33.05,4.79,36.885,5.03), (36.645,5.03,36.885,56.15), (33.05,56.15,36.885,56.39), (33.05,56.745,37.48,56.985), (33.05,57.34,38.075,57.58)])
R(charge_pump, Metal3_pin, [(34.245,22.545,35.245,23.545)])
R(charge_pump, Metal4, [(33.05,7.53,38.365,7.77), (38.125,7.77,38.365,66.48), (33.05,8.125,37.77,8.365), (37.53,8.365,37.77,65.885), (33.05,8.72,37.175,8.96), (36.935,8.96,37.175,65.29), (33.04,59.255,34.97,63.615), (33.05,65.29,37.175,65.53), (33.05,65.885,37.77,66.125), (33.05,66.48,38.365,66.72)])
R(charge_pump, Metal4_pin, [(33.505,60.935,34.505,61.935)])
r = gdstk.Reference(via_stack_2, (79.555,34.595), rotation=pi, x_reflection=True); r.repetition = gdstk.Repetition(20, 1, v1=(-2.38,0), v2=(0,0)); charge_pump.add(r)
r = gdstk.Reference(via_stack_3, (35.525,34.595)); r.repetition = gdstk.Repetition(10, 1, v1=(4.76,0), v2=(0,0)); charge_pump.add(r)
charge_pump.add(gdstk.Reference(pmos_2, (80.895,25.415), rotation=pi, x_reflection=True))
charge_pump.add(gdstk.Reference(via_stack_8, (34.745,23.045)))
charge_pump.add(gdstk.Reference(via_stack, (79.555,25.06), rotation=pi, x_reflection=True))
charge_pump.add(gdstk.Reference(nmos_3, (33.42,12.165)))
charge_pump.add(gdstk.Reference(via_stack, (34.335,33.95)))
charge_pump.add(gdstk.Reference(via_stack, (34.335,44.13)))
charge_pump.add(gdstk.Reference(nmos_2, (47.35,12.165)))
charge_pump.add(gdstk.Reference(via_stack, (79.555,35.24), rotation=pi, x_reflection=True))
charge_pump.add(gdstk.Reference(nmos_4, (44.135,7.605), rotation=3*pi/2))
charge_pump.add(gdstk.Reference(pmos, (80.895,35.595), rotation=pi, x_reflection=True))
r = gdstk.Reference(via_stack_3, (35.525,44.775)); r.repetition = gdstk.Repetition(10, 1, v1=(4.76,0), v2=(0,0)); charge_pump.add(r)
r = gdstk.Reference(via_stack_2, (79.555,44.775), rotation=pi, x_reflection=True); r.repetition = gdstk.Repetition(20, 1, v1=(-2.38,0), v2=(0,0)); charge_pump.add(r)
charge_pump.add(gdstk.Reference(via_stack, (34.335,54.31)))
charge_pump.add(gdstk.Reference(via_stack_9, (32.185,56.865), x_reflection=True))
charge_pump.add(gdstk.Reference(via_stack, (79.555,45.42), rotation=pi, x_reflection=True))
charge_pump.add(gdstk.Reference(via_stack, (79.555,54.31), rotation=pi, x_reflection=True))
charge_pump.add(gdstk.Reference(pmos_2, (80.895,45.775), rotation=pi, x_reflection=True))
charge_pump.add(gdstk.Reference(guard_ring, (56.945,39.685)))
charge_pump.add(gdstk.Reference(via_stack, (65.465,58.12), rotation=pi))
charge_pump.add(gdstk.Reference(via_stack, (55.945,58.12), x_reflection=True))
charge_pump.add(gdstk.Reference(via_stack, (65.465,64.75), rotation=pi, x_reflection=True))
charge_pump.add(gdstk.Reference(via_stack, (55.945,64.75)))
r = gdstk.Reference(via_stack_4, (65.465,65.19), rotation=pi); r.repetition = gdstk.Repetition(5, 1, v1=(-2.38,0), v2=(0,0)); charge_pump.add(r)
r = gdstk.Reference(via_stack_5, (57.135,65.19), x_reflection=True); r.repetition = gdstk.Repetition(2, 1, v1=(7.14,0), v2=(0,0)); charge_pump.add(r)
charge_pump.add(gdstk.Reference(via_stack, (60.705,65.19), x_reflection=True))
charge_pump.add(gdstk.Reference(via_stack, (58.21,20.66), rotation=pi, x_reflection=True))
charge_pump.add(gdstk.Reference(via_stack, (53.45,21.1), rotation=pi))
charge_pump.add(gdstk.Reference(via_stack, (69.735,58.12), x_reflection=True))
charge_pump.add(gdstk.Reference(via_stack, (79.255,58.12), rotation=pi))
charge_pump.add(gdstk.Reference(via_stack, (69.735,64.75)))
charge_pump.add(gdstk.Reference(via_stack, (79.255,64.75), rotation=pi, x_reflection=True))
charge_pump.add(gdstk.Reference(via_stack, (46.915,65.19), x_reflection=True))
r = gdstk.Reference(via_stack_5, (43.345,65.19), x_reflection=True); r.repetition = gdstk.Repetition(2, 1, v1=(7.14,0), v2=(0,0)); charge_pump.add(r)
r = gdstk.Reference(via_stack_4, (51.675,65.19), rotation=pi); r.repetition = gdstk.Repetition(5, 1, v1=(-2.38,0), v2=(0,0)); charge_pump.add(r)
charge_pump.add(gdstk.Reference(via_stack, (42.155,64.75)))
charge_pump.add(gdstk.Reference(via_stack, (51.675,64.75), rotation=pi, x_reflection=True))
charge_pump.add(gdstk.Reference(via_stack, (42.155,58.12), x_reflection=True))
charge_pump.add(gdstk.Reference(via_stack, (51.675,58.12), rotation=pi))
charge_pump.add(gdstk.Reference(pmos_5, (68.395,58.475)))
charge_pump.add(gdstk.Reference(pmos_4, (54.605,64.395), x_reflection=True))
charge_pump.add(gdstk.Reference(pmos_5, (40.815,64.395), x_reflection=True))
r = gdstk.Reference(via_stack_4, (79.255,57.68), rotation=pi, x_reflection=True); r.repetition = gdstk.Repetition(5, 1, v1=(-2.38,0), v2=(0,0)); charge_pump.add(r)
charge_pump.add(gdstk.Reference(via_stack, (74.495,65.19), rotation=pi))
r = gdstk.Reference(via_stack_5, (78.065,65.19), rotation=pi); r.repetition = gdstk.Repetition(2, 1, v1=(-7.14,0), v2=(0,0)); charge_pump.add(r)
r = gdstk.Reference(via_stack_5, (57.02,21.1), rotation=pi); r.repetition = gdstk.Repetition(2, 1, v1=(-7.14,0), v2=(0,0)); charge_pump.add(r)
charge_pump.add(gdstk.Reference(via_stack, (34.76,20.66)))
r = gdstk.Reference(via_stack_4, (69.735,65.19), x_reflection=True); r.repetition = gdstk.Repetition(5, 1, v1=(2.38,0), v2=(0,0)); charge_pump.add(r)
r = gdstk.Reference(via_stack_4, (51.675,57.68), rotation=pi, x_reflection=True); r.repetition = gdstk.Repetition(5, 1, v1=(-2.38,0), v2=(0,0)); charge_pump.add(r)
charge_pump.add(gdstk.Reference(via_stack, (44.28,20.66), rotation=pi, x_reflection=True))
r = gdstk.Reference(via_stack_4, (65.465,57.68), rotation=pi, x_reflection=True); r.repetition = gdstk.Repetition(5, 1, v1=(-2.38,0), v2=(0,0)); charge_pump.add(r)
charge_pump.add(gdstk.Reference(nmos_1, (32.665,59.485)))
charge_pump.add(gdstk.Reference(via_stack, (39.52,21.1), rotation=pi))
charge_pump.add(gdstk.Reference(via_stack_4, (34.005,59.155), rotation=pi, x_reflection=True))
charge_pump.add(gdstk.Reference(via_stack_7, (34.005,59.155)))
charge_pump.add(gdstk.Reference(via_stack_4, (34.005,63.715), rotation=pi, x_reflection=True))
charge_pump.add(gdstk.Reference(via_stack_7, (34.005,63.715)))
charge_pump.add(gdstk.Reference(via_stack_6, (35.79,61.43)))
charge_pump.add(gdstk.Reference(guard_ring_2, (60.705,61.435)))
charge_pump.add(gdstk.Reference(via_stack_9, (32.185,66.005)))
r = gdstk.Reference(via_stack_5, (43.09,21.1), rotation=pi); r.repetition = gdstk.Repetition(2, 1, v1=(-7.14,0), v2=(0,0)); charge_pump.add(r)
r = gdstk.Reference(via_stack_4, (34.76,21.1), x_reflection=True); r.repetition = gdstk.Repetition(5, 1, v1=(2.38,0), v2=(0,0)); charge_pump.add(r)
charge_pump.add(gdstk.Reference(via_stack, (44.28,11.81), rotation=pi))
charge_pump.add(gdstk.Reference(via_stack_10, (32.185,8.245)))
charge_pump.add(gdstk.Reference(nmos_4, (52.825,7.605), rotation=3*pi/2))
r = gdstk.Reference(via_stack_4, (44.28,11.37), rotation=pi, x_reflection=True); r.repetition = gdstk.Repetition(5, 1, v1=(-2.38,0), v2=(0,0)); charge_pump.add(r)
r = gdstk.Reference(via_stack_4, (48.69,21.1), x_reflection=True); r.repetition = gdstk.Repetition(5, 1, v1=(2.38,0), v2=(0,0)); charge_pump.add(r)
charge_pump.add(gdstk.Reference(via_stack, (58.21,11.81), rotation=pi))
charge_pump.add(gdstk.Reference(via_stack_10, (32.185,4.315), x_reflection=True))
r = gdstk.Reference(via_stack_4, (58.21,11.37), rotation=pi, x_reflection=True); r.repetition = gdstk.Repetition(5, 1, v1=(-2.38,0), v2=(0,0)); charge_pump.add(r)
charge_pump.add(gdstk.Reference(guard_ring_5, (46.485,16.235)))
charge_pump.add(gdstk.Reference(via_stack_4, (52.495,6.265), rotation=pi/2, x_reflection=True))
charge_pump.add(gdstk.Reference(via_stack_4, (59.155,6.265), rotation=pi/2, x_reflection=True))
charge_pump.add(gdstk.Reference(via_stack, (59.155,6.265), rotation=3*pi/2))
charge_pump.add(gdstk.Reference(via_stack_4, (43.805,6.265), rotation=pi/2, x_reflection=True))
charge_pump.add(gdstk.Reference(via_stack, (43.805,6.265), rotation=3*pi/2))
charge_pump.add(gdstk.Reference(via_stack_4, (50.465,6.265), rotation=pi/2, x_reflection=True))
charge_pump.add(gdstk.Reference(guard_ring_3, (51.48,6.265)))
charge_pump.add(gdstk.Reference(via_stack_11, (47.135,7.845)))
charge_pump.add(gdstk.Reference(via_stack_11, (55.825,7.845)))
charge_pump.add(gdstk.Label('VBGR', (34.005,61.435), layer=50, texttype=25))
charge_pump.add(gdstk.Label('VSS', (32.185,66.005), layer=10, texttype=25))
charge_pump.add(gdstk.Label('UP', (83.255,61.755), layer=10, texttype=25))
charge_pump.add(gdstk.Label('DN', (62.01,6.265), layer=10, texttype=25))
charge_pump.add(gdstk.Label('VSS', (32.185,8.245), layer=10, texttype=25))
charge_pump.add(gdstk.Label('VDD', (32.185,4.315), layer=10, texttype=25))
charge_pump.add(gdstk.Label('VDD', (32.185,56.865), layer=8, texttype=25))
charge_pump.add(gdstk.Label('VCP', (34.745,23.045), layer=30, texttype=25))

lib.write_gds('CHARGE_PUMP.gds')
